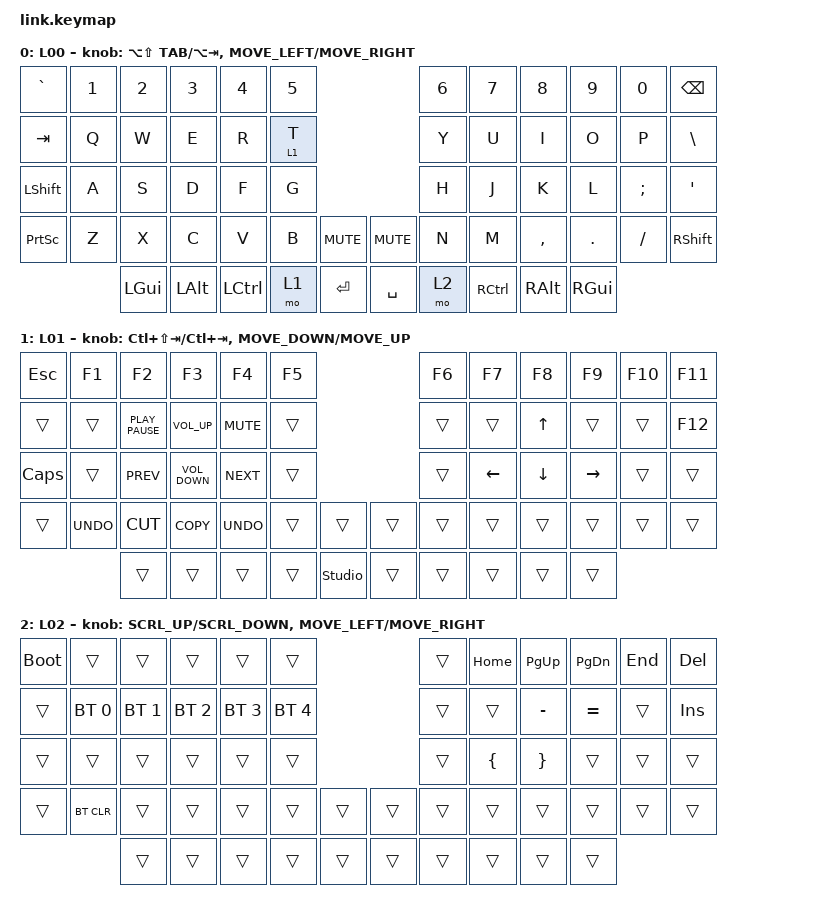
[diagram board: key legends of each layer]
/*
 * Copyright (c) 2020 The ZMK Contributors
 *
 * SPDX-License-Identifier: MIT
 */

#include <behaviors.dtsi>
#include <dt-bindings/zmk/bt.h>
#include <dt-bindings/zmk/keys.h>
#include <dt-bindings/zmk/pointing.h>

#define ZMK_MOUSE_SCRL_VAL 140

/ {
    behaviors {
        encoder_mmv: encoder_mmv {
            compatible = "zmk,behavior-sensor-rotate-var";
            #sensor-binding-cells = <2>;
            bindings = <&mmv>, <&mmv>;
            tap-ms = <25>;
        };
        encoder_msc: encoder_msc {
            compatible = "zmk,behavior-sensor-rotate-var";
            #sensor-binding-cells = <2>;
            bindings = <&msc>, <&msc>;
            tap-ms = <25>;
        };
    };

    keymap {
        compatible = "zmk,keymap";

        default_layer {
            display-name = "L00";

            // ------------------------------------------------------------------------------------------------------------
            // |  `    |  1  |  2  |  3   |  4   |  5   |                   |  6   |  7    |  8    |  9   |   0   |       |
            // |  ESC  |  Q  |  W  |  E   |  R   |  T   |                   |  Y   |  U    |  I    |  O   |   P   | BKSPC |
            // |  TAB  |  A  |  S  |  D   |  F   |  G   |                   |  H   |  J    |  K    |  L   |   ;   |   '   |
            // | SHIFT |  Z  |  X  |  C   |  V   |  B   |  MUTE  |  |       |  N   |  M    |  ,    |  .   |   /   | SHIFT |
            //               | GUI | ALT  | CTRL | LOWER|  ENTER |  | SPACE | RAISE| CTRL  | ALT   | GUI  |

            bindings = <
&kp GRAVE        &kp N1  &kp N2    &kp N3    &kp N4     &kp N5                            &kp N6  &kp N7     &kp N8     &kp N9    &kp N0    &kp BACKSPACE
&kp TAB          &kp Q   &kp W     &kp E     &kp R      &lt 1 T                             &kp Y   &kp U      &kp I      &kp O     &kp P     &kp BACKSLASH
&kp LEFT_SHIFT   &kp A   &kp S     &kp D     &kp F      &kp G                             &kp H   &kp J      &kp K      &kp L     &kp SEMI  &kp SQT
&kp PRINTSCREEN  &kp Z   &kp X     &kp C     &kp V      &kp B   &kp C_MUTE    &kp C_MUTE  &kp N   &kp M      &kp COMMA  &kp DOT   &kp FSLH  &kp RSHFT
                         &kp LGUI  &kp LALT  &kp LCTRL  &mo 1   &kp RET       &kp SPACE   &mo 2   &kp RCTRL  &kp RALT   &kp RGUI
            >;

            sensor-bindings = <&inc_dec_kp LA(LS( TAB)) LA(TAB) &encoder_mmv MOVE_LEFT MOVE_RIGHT>;
        };

        lower_layer {
            display-name = "L01";

            // ------------------------------------------------------------------------------------------------------------
            // | `     |  F1 |  F2 |  F3  |  F4  |  F5  |                   |  F6  |  F7   |  F8   |  F9  |  F10  |  F11  |
            // | RAISE |   1 |   2 |   3  |   4  |   5  |                   |   6  |   7   |   8   |   9  |    0  |  F12  |
            // |       |  !  |  @  |  #   |  $   |  %   |                   |  ^   |  &    |  *    |  (   |   )   |   |   |
            // |       |  =  |  -  |  +   |  {   |  }   |        |  |       |  [   |  ]    |  ;    |  :   |   \   |       |
            //               |     |      |      |      |        |  |       |      |       |       |      |

            bindings = <
&kp ESCAPE    &kp F1      &kp F2            &kp F3             &kp F4      &kp F5                            &kp F6  &kp F7          &kp F8          &kp F9           &kp F10  &kp F11
&trans        &trans      &kp K_PLAY_PAUSE  &kp C_VOLUME_UP    &kp K_MUTE  &trans                            &trans  &trans          &kp UP_ARROW    &trans           &trans   &kp F12
&kp CAPSLOCK  &trans      &kp C_PREV        &kp C_VOLUME_DOWN  &kp C_NEXT  &trans                            &trans  &kp LEFT_ARROW  &kp DOWN_ARROW  &kp RIGHT_ARROW  &trans   &trans
&trans        &kp K_UNDO  &kp K_CUT         &kp K_COPY         &kp K_UNDO  &trans  &trans            &trans  &trans  &trans          &trans          &trans           &trans   &trans
                          &trans            &trans             &trans      &trans  &studio_unlock    &trans  &trans  &trans          &trans          &trans
            >;

            sensor-bindings = <&inc_dec_kp LC(LS(TAB)) LC(TAB) &encoder_mmv MOVE_DOWN MOVE_UP>;
        };

        raise_layer {
            display-name = "L02";

            // ------------------------------------------------------------------------------------------------------------
            // |BTCLR| BT1  | BT2  |  BT3  |  BT4  |  BT5 |                |      |      |       |      |       |       |
            // |     | INS  | PSCR | GUI   |       |      |                | PGUP |      |       |      |       |       |
            // |     | ALT  | CTRL | SHIFT |       | CAPS |                |  <-  |   v  |   ^   |  ->  |  DEL  | BKSPC |
            // |     | UNDO | CUT  | COPY  | PASTE |      |      |  |      |      |      |       |      |       |       |
            //              |      |       |       |      |      |  |      |      |      |       |      |

            bindings = <
&bootloader  &trans        &trans        &trans        &trans        &trans                          &trans  &kp HOME        &kp PG_UP        &kp PAGE_DOWN  &kp END  &kp DELETE
&trans       &bt BT_SEL 0  &bt BT_SEL 1  &bt BT_SEL 2  &bt BT_SEL 3  &bt BT_SEL 4                    &trans  &trans          &kp MINUS        &kp EQUAL      &trans   &kp INSERT
&trans       &trans        &trans        &trans        &trans        &trans                          &trans  &kp LEFT_BRACE  &kp RIGHT_BRACE  &trans         &trans   &trans
&trans       &bt BT_CLR    &trans        &trans        &trans        &trans        &trans    &trans  &trans  &trans          &trans           &trans         &trans   &trans
                           &trans        &trans        &trans        &trans        &trans    &trans  &trans  &trans          &trans           &trans
            >;

            sensor-bindings = <&encoder_msc SCRL_UP SCRL_DOWN &encoder_mmv MOVE_LEFT MOVE_RIGHT>;
        };
    };
};
